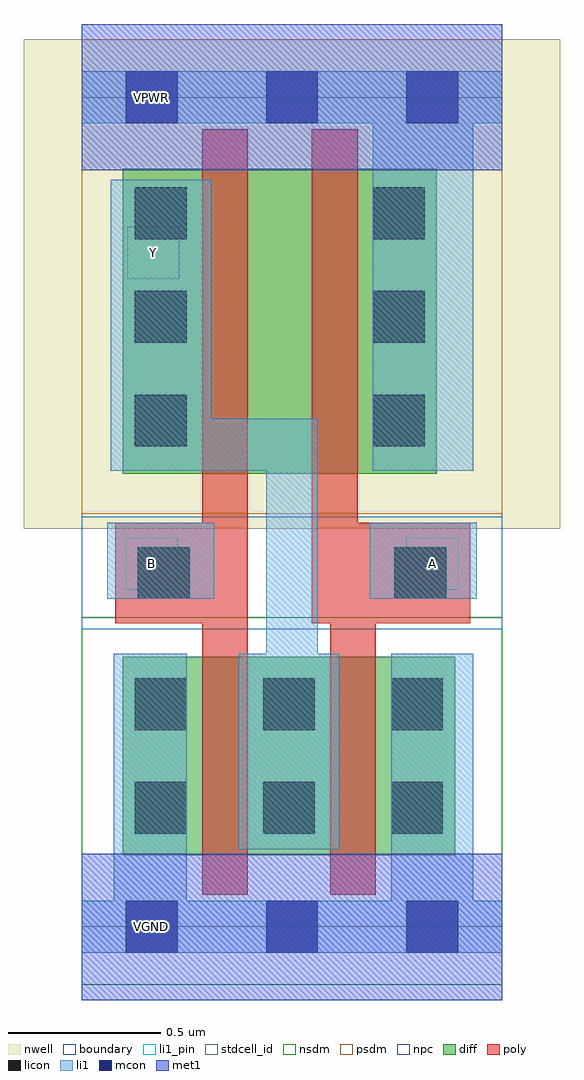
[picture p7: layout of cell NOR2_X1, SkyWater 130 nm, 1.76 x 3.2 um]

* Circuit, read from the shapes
.subckt NOR2_X1 A B VGND VPWR Y
XM1 Y B VGND VSUBS sky130_fd_pr__nfet_01v8 w=0.65 l=0.15
XM2 VGND A Y VSUBS sky130_fd_pr__nfet_01v8 w=0.65 l=0.15
XM3 n1 B Y n2 sky130_fd_pr__pfet_01v8 w=1 l=0.15
XM4 VPWR A n1 n2 sky130_fd_pr__pfet_01v8 w=1 l=0.15
.ends

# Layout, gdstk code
import gdstk
lib = gdstk.Library(unit=1e-6, precision=1e-09)
def R(c, l, rs):  # rectangles x0, y0, x1, y1
    for r in rs: c.add(gdstk.rectangle(r[:2], r[2:], *l))
def A(c, l, x, y, w, h, nx, ny, dx, dy):  # array of equal rectangles
    R(c, l, [(x+i*dx, y+j*dy, x+i*dx+w, y+j*dy+h) for i in range(nx) for j in range(ny)])
nwell = (64, 20)
diff = (65, 20)
poly = (66, 20)
licon = (66, 44)
li1_pin = (67, 16)
li1 = (67, 20)
mcon = (67, 44)
met1 = (68, 20)
stdcell_id = (81, 4)
nsdm = (93, 44)
psdm = (94, 20)
npc = (95, 20)
boundary = (235, 4)

nor2_x1 = lib.new_cell('NOR2_X1')
R(nor2_x1, nwell, [(-0.19,1.305,1.57,2.91)])
R(nor2_x1, diff, [(0.135,0.235,1.225,0.885), (0.135,1.485,1.165,2.485)])
R(nor2_x1, poly, [(0.395,0.105,0.545,2.615), (0.815,0.105,0.965,1.175), (0.11,0.995,0.395,1.325), (0.755,0.995,0.965,1.325), (0.965,0.995,1.275,1.325), (0.755,1.175,0.905,2.615)])
A(nor2_x1, licon, 0.175, 0.305, 0.17, 0.17, 3, 2, 0.42, 0.34)
A(nor2_x1, licon, 0.175, 1.575, 0.17, 0.17, 1, 3, 0, 0.34)
A(nor2_x1, licon, 0.955, 1.575, 0.17, 0.17, 1, 3, 0, 0.34)
R(nor2_x1, licon, [(0.185,1.075,0.355,1.245), (1.025,1.075,1.195,1.245)])
R(nor2_x1, li1_pin, [(0.145,1.105,0.315,1.275), (1.065,1.105,1.235,1.275), (0.15,2.125,0.32,2.295)])
R(nor2_x1, li1, [(0,-0.085,1.38,0.085), (0.105,0.085,0.345,0.895), (1.015,0.085,1.285,0.895), (0.515,0.255,0.845,0.895), (0.605,0.895,0.775,1.495), (0.085,1.075,0.435,1.325), (0.945,1.075,1.295,1.325), (0.095,1.495,0.775,1.665), (0.095,1.495,0.425,2.45), (0.955,1.495,1.285,2.635), (0,2.635,1.38,2.805)])
A(nor2_x1, mcon, 0.145, -0.085, 0.17, 0.17, 3, 2, 0.46, 2.72)
R(nor2_x1, met1, [(0,-0.24,1.38,0.24), (0,2.48,1.38,2.96)])
R(nor2_x1, stdcell_id, [(0,0,1.38,2.72)])
R(nor2_x1, nsdm, [(0,-0.19,1.38,1.015)])
R(nor2_x1, psdm, [(0,1.355,1.38,2.91)])
R(nor2_x1, npc, [(0,0.975,1.38,1.345)])
R(nor2_x1, boundary, [(0,0,1.38,2.72)])
nor2_x1.add(gdstk.Label('VPWR', (0.23,2.72), layer=68, texttype=5))
nor2_x1.add(gdstk.Label('VGND', (0.23,0), layer=68, texttype=5))
nor2_x1.add(gdstk.Label('B', (0.23,1.19), layer=67, texttype=5))
nor2_x1.add(gdstk.Label('A', (1.15,1.19), layer=67, texttype=5))
nor2_x1.add(gdstk.Label('Y', (0.235,2.21), layer=67, texttype=5))

lib.write_gds('NOR2_X1.gds')
